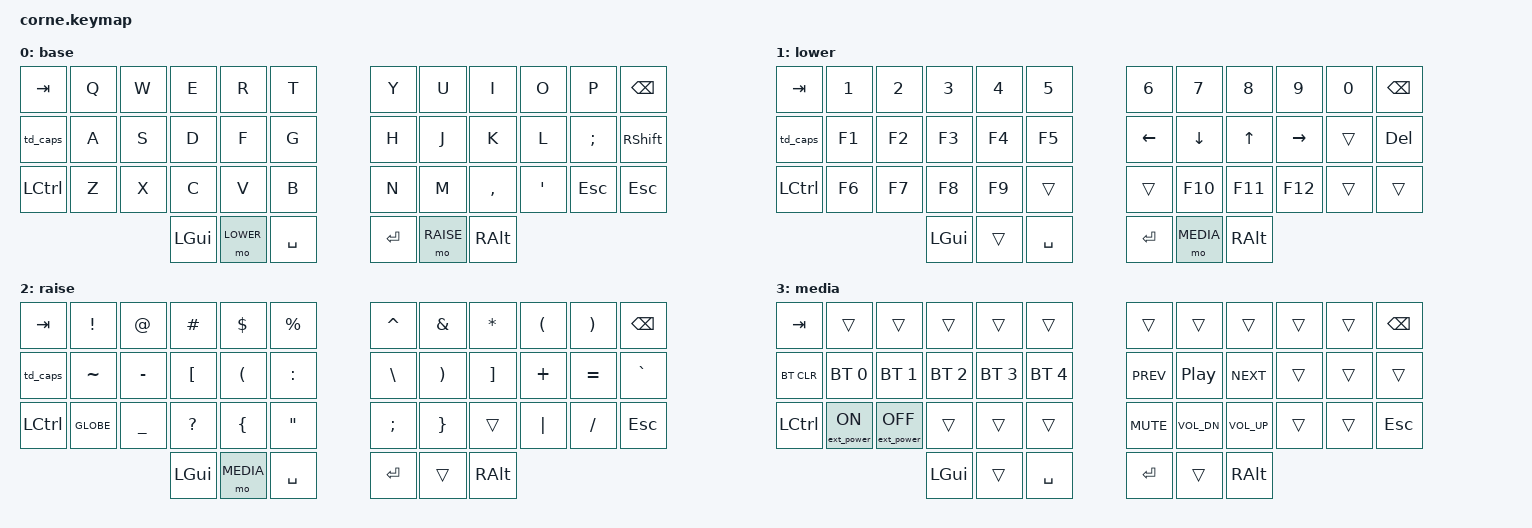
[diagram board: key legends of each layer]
/*
 * Copyright (c) 2020 The ZMK Contributors
 *
 * SPDX-License-Identifier: MIT
 * 
 * My take on 'real programmers Dvorak' layout with custom symbol layers.
 * References:
 *     Programmers dv: Programmer Dvorak layout (by Roland Kaufmann)
 *     Real programmers dv: https://github.com/ThePrimeagen
 *     My qmk config: https://github.com/timonviola/qmk_firmware/tree/master/keyboards/crkbd/keymaps/timon
 * 
 */

#include <behaviors.dtsi>
#include <dt-bindings/zmk/keys.h>
#include <dt-bindings/zmk/bt.h>
#include <dt-bindings/zmk/outputs.h>
#include <dt-bindings/zmk/ext_power.h>

#define BASE 0
#define LOWER 1
#define RAISE 2
#define MEDIA 3

// This is ok if only a single sticky key is used.
// Create new behavior if multiple &sk is used.
&sk {
    quick-release;
};

/ {
    behaviors {
        td_caps: tap_dance_caps {
            compatible = "zmk,behavior-tap-dance";
            label = "TD_CAPS";
            #binding-cells = <0>;
            tapping-term-ms = <200>;
            bindings = <&sk LSHFT>, <&kp CAPSLOCK>;
        };
    };
    keymap {
        compatible = "zmk,keymap";

        default_layer {
            label = "base";
// +------------------------------------------------------------------------------------+
// |  TAB  | ; : | , < | . > |  P  |  Y  |         |  F  |  G  |  C  |  R  |  L  | BSPC |
// | LSHFT |  A  |  O  |  E  |  U  |  I  |         |  D  |  H  |  T  |  N  |  S  | DEL  |
// |  CTLR | ' " | q @ |  J  |  K  |  X  |         |  B  |  M  |  W  |  V  |  Z  | ESC  |
//                       | GUI | LOWER | SPC |  | ENT | RAISE | ALT |
// +------------------------------------------------------------------------------------+
            bindings = <
   &kp TAB   &kp Q   &kp W &kp E &kp R &kp T &kp Y &kp U  &kp I     &kp O   &kp P    &kp BSPC
   &td_caps  &kp A   &kp S &kp D &kp F &kp G &kp H &kp J  &kp K     &kp L   &kp SEMI &kp RSHIFT
   &kp LCTRL &kp Z   &kp X &kp C &kp V &kp B &kp N &kp M  &kp COMMA &kp SQT &kp ESC  &kp ESC
//   &kp TAB   &kp SEMI   &kp COMMA &kp DOT &kp P &kp Y   &kp F &kp G  &kp C   &kp R   &kp L &kp BSPC
//   &td_caps  &kp A      &kp O     &kp E   &kp U &kp I   &kp D &kp H  &kp T   &kp N   &kp S &kp RSHIFT
//   &kp LCTRL &kp SQT    &kp Q     &kp J   &kp K &kp X   &kp B &kp M  &kp W   &kp V   &kp Z &kp ESC
                  &kp LGUI &mo LOWER &kp SPACE   &kp RET &mo RAISE  &kp RALT
                        >;
                };
            lower_layer {
                label = "lower";
// +------------------------------------------------------------------------------------+
// |   TAB |  1  |  2  |  3  |  4  |  5  |         |  6  |  7  |  8  |  9  |  0  | BSPC |
// | LSHFT | F1  | F2  | F3  | F4  | F5  |         | LEFT| DOWN|  UP | RHGT|     |      |
// |  CTLR | F6  | F7  | F8  | F9  |     |         |     | F10 | F11 | F12 |     |      |
//                         | GUI |     | SPC |  | ENT |MEDIA| ALT |
// +------------------------------------------------------------------------------------+
                bindings = <
   &kp TAB    &kp N1     &kp N2     &kp N3       &kp N4 &kp N5  &kp N6      &kp N7     &kp N8   &kp N9      &kp N0 &kp BSPC
   &td_caps   &kp F1     &kp F2     &kp F3       &kp F4 &kp F5  &kp LEFT    &kp DOWN   &kp UP   &kp RIGHT   &trans &kp DEL
   &kp LCTRL  &kp F6     &kp F7     &kp F8       &kp F9 &trans  &trans      &kp F10    &kp F11  &kp F12     &trans &trans
                            &kp LGUI  &trans  &kp SPACE &kp RET &mo MEDIA   &kp RALT
                        >;
                };
            raise_layer {
                label = "raise";
// +------------------------------------------------------------------------------------+
// |  TAB  |  !  |  @  |  #  |  $  |  %  |         |  ^  |  &  |  *  |  (  |  )  | BSPC |
// | LSHFT |  ~  |  -  |  [  |  (  |  :  |         |  \  |  )  |  ]  |  +  |  =  | ` ~  |
// |  CTLR |GLOBE|  _  |  ?  |  {  |  "  |         |  ;  |  }  |     |  |  |  /  |  ESC |
//                        | GUI |MEDIA| SPC |   | ENT |     | ALT |
// +------------------------------------------------------------------------------------+
                bindings = <
   &kp TAB   &kp EXCL  &kp AT    &kp HASH  &kp DLLR &kp PRCNT   &kp CARET &kp AMPS  &kp STAR &kp LPAR &kp RPAR  &kp BSPC
   &td_caps  &kp TILDE &kp MINUS &kp LBKT  &kp LPAR &kp COLON   &kp BSLH  &kp RPAR  &kp RBKT &kp PLUS &kp EQUAL &kp GRAVE
   &kp LCTRL &kp GLOBE &kp UNDER &kp QMARK &kp LBRC &kp DQT     &kp SEMI  &kp RBRC  &trans   &kp PIPE &kp FSLH  &kp ESC
                             &kp LGUI &mo MEDIA &kp SPACE   &kp RET   &trans    &kp RALT
                        >;
                };
            media_layer {
                label = "media";
// +------------------------------------------------------------------------------------+
// |   TAB |     |     |     |     |     |         |     |     |     |     |     | BSPC |
// |BT CLR | BT1 | BT2 | BT3 | BT4 | BT5 |         | PREV|> || | NEXT|     |     |      |
// |  CTLR |PW ON|PWOFF|     |     |     |         | MUTE| VOL-| VOL+|     |     |  ESC |
//                        | GUI |     | SPC |  | ENT |     | ALT |
// +------------------------------------------------------------------------------------+
                bindings = <
   &kp TAB    &trans            &trans              &trans       &trans       &trans       &trans     &trans       &trans       &trans &trans &kp BSPC
   &bt BT_CLR &bt BT_SEL 0      &bt BT_SEL 1        &bt BT_SEL 2 &bt BT_SEL 3 &bt BT_SEL 4 &kp C_PREV &kp C_PP     &kp C_NEXT   &trans &trans &trans
   &kp LCTRL  &ext_power EP_ON  &ext_power EP_OFF   &trans       &trans       &trans       &kp C_MUTE &kp C_VOL_DN &kp C_VOL_UP &trans &trans &kp ESC
                                    &kp LGUI     &trans       &kp SPACE      &kp RET  &trans   &kp RALT
                        >;
                };
        };
};

&nice_view_spi {
    cs-gpios = <&pro_micro 0 GPIO_ACTIVE_HIGH>;
};
